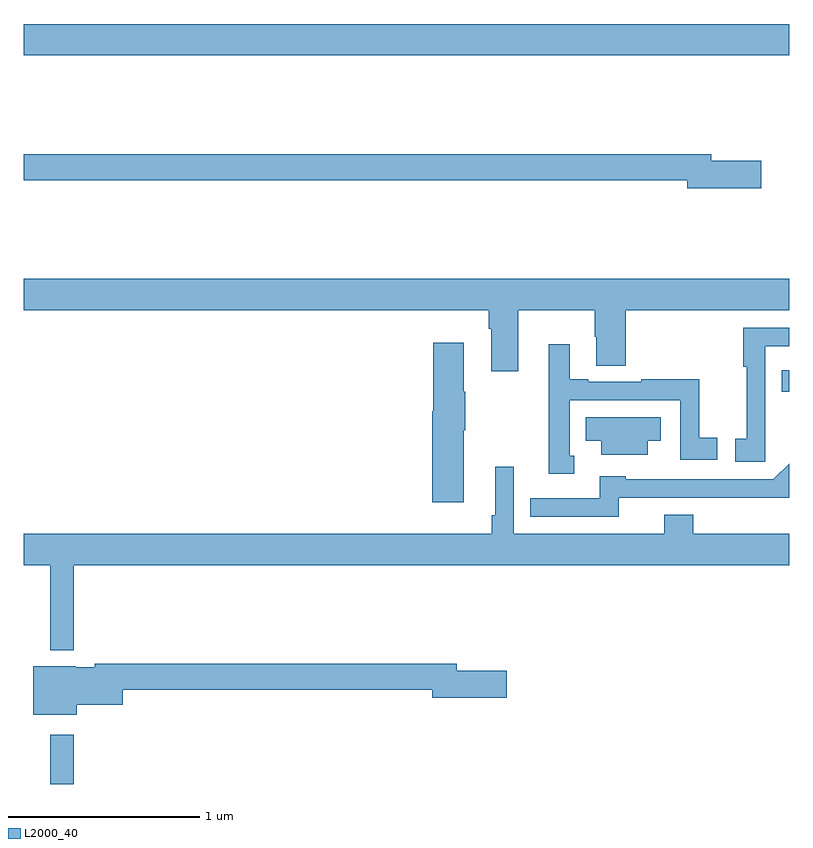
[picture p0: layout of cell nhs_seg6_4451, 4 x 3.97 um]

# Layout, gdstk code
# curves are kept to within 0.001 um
import gdstk
lib = gdstk.Library(unit=1e-6, precision=1e-09)
def R(c, l, rs):  # rectangles x0, y0, x1, y1
    for r in rs: c.add(gdstk.rectangle(r[:2], r[2:], *l))
def P(c, l, *ps):  # polygons
    for p in ps: c.add(gdstk.Polygon(p, *l))
L2000_40 = (2000, 40)

nhs_seg6_4451 = lib.new_cell('nhs_seg6_4451')
R(nhs_seg6_4451, L2000_40, [(373.139,971.5,373.261,971.758), (376.96,973.55,377,973.663), (373,975.308,377,975.472)])
P(nhs_seg6_4451, L2000_40, [(376.855,974.756),(376.594,974.756),(376.594,974.792),(373,974.792),(373,974.656),(376.466,974.656),(376.466,974.614),(376.855,974.614)],
  [(375.583,973.976),(375.985,973.976),(375.985,973.838),(375.992,973.838),(375.992,973.687),(376.145,973.687),(376.145,973.976),(377,973.976),(377,974.14),(373,974.14),(373,973.976),(375.431,973.976),(375.431,973.88),(375.443,973.88),(375.443,973.656),(375.583,973.656)],
  [(376.876,973.46),(376.875,973.46),(376.875,973.788),(377,973.788),(377,973.884),(376.759,973.884),(376.759,973.681),(376.777,973.681),(376.777,973.305),(376.719,973.305),(376.719,973.185),(376.876,973.185)],
  [(375.298,973.349),(375.306,973.349),(375.306,973.549),(375.298,973.549),(375.298,973.807),(375.14,973.807),(375.14,973.449),(375.134,973.449),(375.134,972.972),(375.298,972.972)],
  [(375.877,973.215),(375.852,973.215),(375.852,973.506),(376.431,973.506),(376.431,973.194),(376.624,973.194),(376.624,973.31),(376.53,973.31),(376.53,973.615),(376.228,973.615),(376.228,973.602),(375.949,973.602),(375.949,973.615),(375.853,973.615),(375.853,973.798),(375.743,973.798),(375.743,973.553),(375.744,973.553),(375.744,973.121),(375.877,973.121)],
  [(376.261,973.295),(376.33,973.295),(376.33,973.417),(375.937,973.417),(375.937,973.295),(376.019,973.295),(376.019,973.22),(376.261,973.22)],
  [(376.11,972.996),(377,972.995),(377,973.175),(376.917,973.092),(376.146,973.092),(376.146,973.108),(376.01,973.108),(376.01,972.993),(375.646,972.993),(375.646,972.897),(376.11,972.897)],
  [(373.261,972.644),(377,972.644),(377,972.808),(376.499,972.808),(376.499,972.907),(376.346,972.907),(376.346,972.808),(375.561,972.808),(375.561,973.159),(375.464,973.159),(375.464,972.904),(375.445,972.904),(375.445,972.808),(373,972.808),(373,972.644),(373.139,972.644),(373.139,972.2),(373.261,972.2)],
  [(373.276,971.915),(373.516,971.915),(373.516,971.992),(375.134,971.992),(375.134,971.95),(375.523,971.95),(375.523,972.092),(375.262,972.092),(375.262,972.128),(373.372,972.128),(373.372,972.109),(373.272,972.109),(373.272,972.115),(373.049,972.115),(373.049,971.861),(373.276,971.861)])

lib.write_gds('nhs_seg6_4451.gds')
